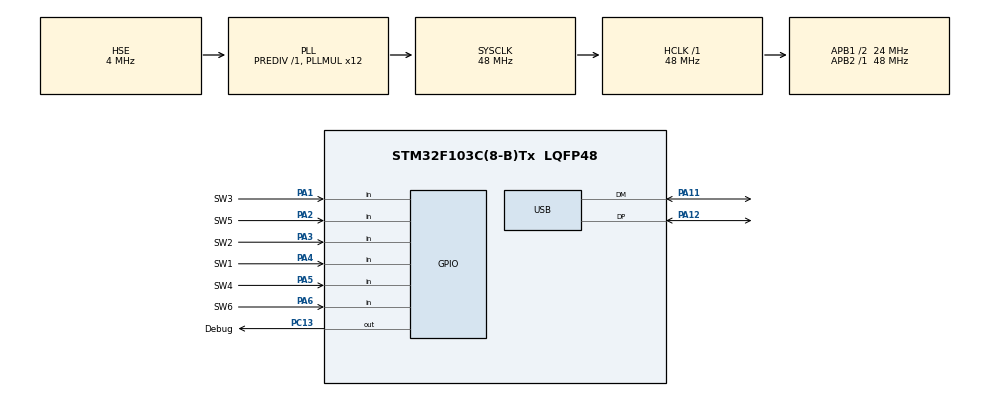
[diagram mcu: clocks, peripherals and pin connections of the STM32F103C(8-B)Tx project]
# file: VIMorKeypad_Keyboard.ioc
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Mcu.Family=STM32F1
Mcu.Name=STM32F103C(8-B)Tx
Mcu.Package=LQFP48
NVIC.PriorityGroup=NVIC_PRIORITYGROUP_4
NVIC.TIM2_IRQn=true\:0\:0\:false\:false\:true\:true\:true
NVIC.TIM3_IRQn=true\:0\:0\:false\:false\:true\:true\:true
NVIC.USB_LP_CAN1_RX0_IRQn=true\:0\:0\:false\:false\:true\:false\:true
PA1.GPIO_Label=SW3
PA1.GPIO_PuPd=GPIO_PULLUP
PA1.Signal=GPIO_Input
PA11.Mode=Device
PA11.Signal=USB_DM
PA12.Mode=Device
PA12.Signal=USB_DP
PA13.Mode=Serial_Wire
PA13.Signal=SYS_JTMS-SWDIO
PA14.Mode=Serial_Wire
PA14.Signal=SYS_JTCK-SWCLK
PA2.GPIO_Label=SW5
PA2.GPIO_PuPd=GPIO_PULLUP
PA2.Signal=GPIO_Input
PA3.GPIO_Label=SW2
PA3.GPIO_PuPd=GPIO_PULLUP
PA3.Signal=GPIO_Input
PA4.GPIO_Label=SW1
PA4.GPIO_PuPd=GPIO_PULLUP
PA4.Signal=GPIO_Input
PA5.GPIO_Label=SW4
PA5.GPIO_PuPd=GPIO_PULLUP
PA5.Signal=GPIO_Input
PA6.GPIO_Label=SW6
PA6.GPIO_PuPd=GPIO_PULLUP
PA6.Signal=GPIO_Input
PC13-TAMPER-RTC.GPIO_Label=Debug
PC13-TAMPER-RTC.GPIO_Speed=GPIO_SPEED_FREQ_HIGH
PC13-TAMPER-RTC.Signal=GPIO_Output
PD0-OSC_IN.Mode=HSE-External-Oscillator
PD0-OSC_IN.Signal=RCC_OSC_IN
PD1-OSC_OUT.Mode=HSE-External-Oscillator
PD1-OSC_OUT.Signal=RCC_OSC_OUT
ProjectManager.HeapSize=0x200
ProjectManager.StackSize=0x400
ProjectManager.TargetToolchain=STM32CubeIDE
RCC.AHBFreq_Value=48000000
RCC.APB1CLKDivider=RCC_HCLK_DIV2
RCC.APB1Freq_Value=24000000
RCC.APB1TimFreq_Value=48000000
RCC.APB2Freq_Value=48000000
RCC.APB2TimFreq_Value=48000000
RCC.HCLKFreq_Value=48000000
RCC.HSE_VALUE=4000000
RCC.PLLMUL=RCC_PLL_MUL12
RCC.SYSCLKFreq_VALUE=48000000
RCC.SYSCLKSource=RCC_SYSCLKSOURCE_PLLCLK
RCC.USBFreq_Value=48000000
TIM2.Period=5000 - 1
TIM2.Prescaler=4 - 1
TIM3.Period=1000 - 1
TIM3.Prescaler=48 - 1
USB_DEVICE.CLASS_NAME_FS=HID
USB_DEVICE.MANUFACTURER_STRING=Xses
USB_DEVICE.PRODUCT_STRING_HID_FS=VIM Keyboard
USB_DEVICE.USBD_SELF_POWERED=0
USB_DEVICE.VirtualMode=Hid
USB_DEVICE.VirtualModeFS=Hid_FS
VP_TIM2_VS_ClockSourceINT.Mode=Internal
VP_TIM3_VS_ClockSourceINT.Mode=Internal
VP_USB_DEVICE_VS_USB_DEVICE_HID_FS.Mode=HID_FS
board=custom

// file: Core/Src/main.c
/* USER CODE BEGIN Header */
/**
  ******************************************************************************
  * @file           : main.c
  * @brief          : Main program body
  ******************************************************************************
  * @attention
  *
  * <h2><center>&copy; Copyright (c) 2021 STMicroelectronics.
  * All rights reserved.</center></h2>
  *
  * This software component is licensed by ST under BSD 3-Clause license,
  * the "License"; You may not use this file except in compliance with the
  * License. You may obtain a copy of the License at:
  *                        opensource.org/licenses/BSD-3-Clause
  *
  ******************************************************************************
  */
/* USER CODE END Header */
#include "main.h"
#include "usb_device.h"

/* USER CODE BEGIN Includes */

#include <stdbool.h>

/* USER CODE END Includes */

/* USER CODE BEGIN PTD */

extern USBD_HandleTypeDef hUsbDeviceFS;

/* USER CODE END PTD */

TIM_HandleTypeDef htim2;
TIM_HandleTypeDef htim3;

/* USER CODE BEGIN PV */

struct KEYS {

	uint16_t SW_State[6];
	uint8_t	 Pressed[6];
	bool	 SW_Key[6];

} keys;

/* USER CODE END PV */

void SystemClock_Config(void);
static void MX_GPIO_Init(void);
static void MX_TIM2_Init(void);
static void MX_TIM3_Init(void);
/* USER CODE BEGIN PFP */

uint8_t USBD_HID_SendReport(USBD_HandleTypeDef  *pdev,
                            uint8_t *report,
                            uint16_t len);

/* USER CODE END PFP */

int main(void)
{
  /* USER CODE BEGIN 1 */

	for (int i = 0; i < 6; i++) {

		keys.SW_State[i] = 0;
		keys.SW_Key[i] 	 = 0;
		keys.Pressed[i]	 = 0;

	}

  /* USER CODE END 1 */

  /* MCU Configuration--------------------------------------------------------*/

  /* Reset of all peripherals, Initializes the Flash interface and the Systick. */
  HAL_Init();

  /* Configure the system clock */
  SystemClock_Config();

  /* Initialize all configured peripherals */
  MX_GPIO_Init();
  MX_TIM2_Init();
  MX_USB_DEVICE_Init();
  MX_TIM3_Init();

  /* Infinite loop */
  while (1)
  {

  }
}

void SystemClock_Config(void)
{
  RCC_OscInitTypeDef RCC_OscInitStruct = {0};
  RCC_ClkInitTypeDef RCC_ClkInitStruct = {0};
  RCC_PeriphCLKInitTypeDef PeriphClkInit = {0};

  /** Initializes the RCC Oscillators according to the specified parameters
  * in the RCC_OscInitTypeDef structure.
  */
  RCC_OscInitStruct.OscillatorType = RCC_OSCILLATORTYPE_HSE;
  RCC_OscInitStruct.HSEState = RCC_HSE_ON;
  RCC_OscInitStruct.HSEPredivValue = RCC_HSE_PREDIV_DIV1;
  RCC_OscInitStruct.HSIState = RCC_HSI_ON;
  RCC_OscInitStruct.PLL.PLLState = RCC_PLL_ON;
  RCC_OscInitStruct.PLL.PLLSource = RCC_PLLSOURCE_HSE;
  RCC_OscInitStruct.PLL.PLLMUL = RCC_PLL_MUL12;
  if (HAL_RCC_OscConfig(&RCC_OscInitStruct) != HAL_OK)
  {
    Error_Handler();
  }
  /** Initializes the CPU, AHB and APB buses clocks
  */
  RCC_ClkInitStruct.ClockType = RCC_CLOCKTYPE_HCLK|RCC_CLOCKTYPE_SYSCLK
                              |RCC_CLOCKTYPE_PCLK1|RCC_CLOCKTYPE_PCLK2;
  RCC_ClkInitStruct.SYSCLKSource = RCC_SYSCLKSOURCE_PLLCLK;
  RCC_ClkInitStruct.AHBCLKDivider = RCC_SYSCLK_DIV1;
  RCC_ClkInitStruct.APB1CLKDivider = RCC_HCLK_DIV2;
  RCC_ClkInitStruct.APB2CLKDivider = RCC_HCLK_DIV1;

  if (HAL_RCC_ClockConfig(&RCC_ClkInitStruct, FLASH_LATENCY_1) != HAL_OK)
  {
    Error_Handler();
  }
  PeriphClkInit.PeriphClockSelection = RCC_PERIPHCLK_USB;
  PeriphClkInit.UsbClockSelection = RCC_USBCLKSOURCE_PLL;
  if (HAL_RCCEx_PeriphCLKConfig(&PeriphClkInit) != HAL_OK)
  {
    Error_Handler();
  }
}

static void MX_TIM2_Init(void)
{

  TIM_ClockConfigTypeDef sClockSourceConfig = {0};
  TIM_MasterConfigTypeDef sMasterConfig = {0};

  htim2.Instance = TIM2;
  htim2.Init.Prescaler = 4 - 1;
  htim2.Init.CounterMode = TIM_COUNTERMODE_UP;
  htim2.Init.Period = 5000 - 1;
  htim2.Init.ClockDivision = TIM_CLOCKDIVISION_DIV1;
  htim2.Init.AutoReloadPreload = TIM_AUTORELOAD_PRELOAD_DISABLE;
  if (HAL_TIM_Base_Init(&htim2) != HAL_OK)
  {
    Error_Handler();
  }
  sClockSourceConfig.ClockSource = TIM_CLOCKSOURCE_INTERNAL;
  if (HAL_TIM_ConfigClockSource(&htim2, &sClockSourceConfig) != HAL_OK)
  {
    Error_Handler();
  }
  sMasterConfig.MasterOutputTrigger = TIM_TRGO_RESET;
  sMasterConfig.MasterSlaveMode = TIM_MASTERSLAVEMODE_DISABLE;
  if (HAL_TIMEx_MasterConfigSynchronization(&htim2, &sMasterConfig) != HAL_OK)
  {
    Error_Handler();
  }

}

static void MX_TIM3_Init(void)
{

  TIM_ClockConfigTypeDef sClockSourceConfig = {0};
  TIM_MasterConfigTypeDef sMasterConfig = {0};

  htim3.Instance = TIM3;
  htim3.Init.Prescaler = 48 - 1;
  htim3.Init.CounterMode = TIM_COUNTERMODE_UP;
  htim3.Init.Period = 1000 - 1;
  htim3.Init.ClockDivision = TIM_CLOCKDIVISION_DIV1;
  htim3.Init.AutoReloadPreload = TIM_AUTORELOAD_PRELOAD_DISABLE;
  if (HAL_TIM_Base_Init(&htim3) != HAL_OK)
  {
    Error_Handler();
  }
  sClockSourceConfig.ClockSource = TIM_CLOCKSOURCE_INTERNAL;
  if (HAL_TIM_ConfigClockSource(&htim3, &sClockSourceConfig) != HAL_OK)
  {
    Error_Handler();
  }
  sMasterConfig.MasterOutputTrigger = TIM_TRGO_RESET;
  sMasterConfig.MasterSlaveMode = TIM_MASTERSLAVEMODE_DISABLE;
  if (HAL_TIMEx_MasterConfigSynchronization(&htim3, &sMasterConfig) != HAL_OK)
  {
    Error_Handler();
  }

}

static void MX_GPIO_Init(void)
{
  GPIO_InitTypeDef GPIO_InitStruct = {0};

  /* GPIO Ports Clock Enable */
  __HAL_RCC_GPIOC_CLK_ENABLE();
  __HAL_RCC_GPIOD_CLK_ENABLE();
  __HAL_RCC_GPIOA_CLK_ENABLE();

  /*Configure GPIO pin Output Level */
  HAL_GPIO_WritePin(Debug_GPIO_Port, Debug_Pin, GPIO_PIN_RESET);

  /*Configure GPIO pin : Debug_Pin */
  GPIO_InitStruct.Pin = Debug_Pin;
  GPIO_InitStruct.Mode = GPIO_MODE_OUTPUT_PP;
  GPIO_InitStruct.Pull = GPIO_NOPULL;
  GPIO_InitStruct.Speed = GPIO_SPEED_FREQ_HIGH;
  HAL_GPIO_Init(Debug_GPIO_Port, &GPIO_InitStruct);

  /*Configure GPIO pins : SW3_Pin SW5_Pin SW2_Pin SW1_Pin
                           SW4_Pin SW6_Pin */
  GPIO_InitStruct.Pin = SW3_Pin|SW5_Pin|SW2_Pin|SW1_Pin
                          |SW4_Pin|SW6_Pin;
  GPIO_InitStruct.Mode = GPIO_MODE_INPUT;
  GPIO_InitStruct.Pull = GPIO_PULLUP;
  HAL_GPIO_Init(GPIOA, &GPIO_InitStruct);

}

/* USER CODE BEGIN 4 */

void HAL_TIM_PeriodElapsedCallback(TIM_HandleTypeDef* htim) {

	if (htim == &htim2) {

		keys.SW_Key[0] = HAL_GPIO_ReadPin(GPIOA, SW1_Pin);
		keys.SW_Key[1] = HAL_GPIO_ReadPin(GPIOA, SW2_Pin);
		keys.SW_Key[2] = HAL_GPIO_ReadPin(GPIOA, SW3_Pin);
		keys.SW_Key[3] = HAL_GPIO_ReadPin(GPIOA, SW4_Pin);
		keys.SW_Key[4] = HAL_GPIO_ReadPin(GPIOA, SW5_Pin);
		keys.SW_Key[5] = HAL_GPIO_ReadPin(GPIOA, SW6_Pin);

		/**** The bouncing ****/
		for (int i = 0; i < 6; i++) {

			keys.SW_State[i] = (keys.SW_State[i] << 1) | keys.SW_Key[i] | 0xe000;

		}
	}

	if (htim == &htim3) {

		/**** Which key was pressed ****/

		/* If you want to change the keys:
		 *
		 * Universal Serial Bus HID Usage Tables
		 * Pages 53-59
		 */

		for (int i = 0; i < 6; i++) {

			if (keys.SW_State[i] == 0xf000) {

				switch (i) {

					case 1 :
						keys.Pressed[i] = 82;
						break;

					case 2 :
						keys.Pressed[i] = 81;
						break;

					case 3 :
						keys.Pressed[i] = 80;
						break;

					case 4 :
						keys.Pressed[i] = 79;
						break;

					case 5 :
						keys.Pressed[i] = 41;
						break;

					case 6 :
						keys.Pressed[i] = 55;
						break;
				}

			} else {

				keys.Pressed[i] = 0;

			}

			/**** Sending USB Report to the Host Device ****/
			USBD_HID_SendReport(&hUsbDeviceFS, keys.Pressed, 6);

		}
	}
}

/* USER CODE END 4 */

void Error_Handler(void)
{
  __disable_irq();
  while (1)
  {
  }
}

/************************ (C) COPYRIGHT STMicroelectronics *****END OF FILE****/
